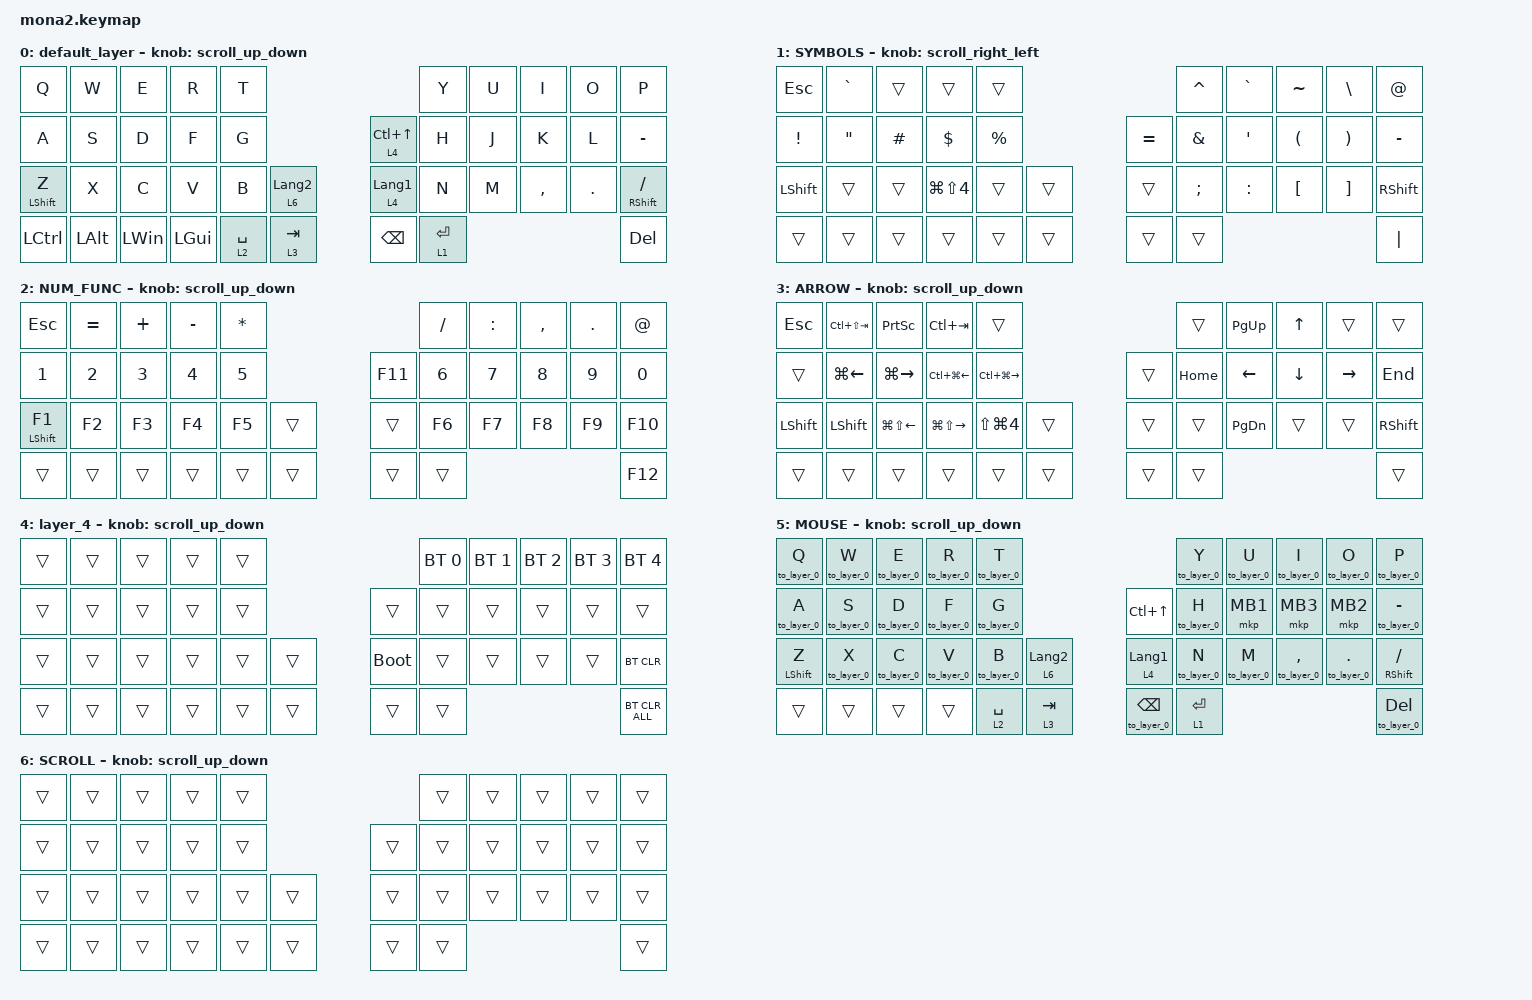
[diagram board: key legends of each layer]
#include <input/processors.dtsi>
#include <dt-bindings/zmk/input_transform.h>
#include <zephyr/dt-bindings/input/input-event-codes.h>
#include <behaviors.dtsi>
#include <dt-bindings/zmk/bt.h>
#include <dt-bindings/zmk/keys.h>
#include <dt-bindings/zmk/pointing.h>

#define ZMK_POINTING_DEFAULT_SCRL_VAL 100
#define MOUSE 5
#define SCROLL 6

&mt {
    flavor = "balanced";
    quick-tap-ms = <0>;
};

&lt {
    quick-tap-ms = <300>;
    flavor = "balanced";
};

/ {
    combos {
        compatible = "zmk,combos";

        layer4_ESC {
            bindings = <&lt 4 ESC>;
            key-positions = <39 38>;
        };
    };

    macros {
        to_layer_0: to_layer_0 {
            compatible = "zmk,behavior-macro-one-param";
            #binding-cells = <1>;
            bindings = <&to 0 &macro_param_1to1 &kp MACRO_PLACEHOLDER>;
            label = "TO_LAYER_0";
        };
    };

    behaviors {
        lt_to_layer_0: lt_to_layer_0 {
            compatible = "zmk,behavior-hold-tap";
            label = "LAYER_TAP_TO_0";
            bindings = <&mo>, <&to_layer_0>;

            #binding-cells = <2>;
            tapping-term-ms = <200>;
        };

        scroll_up_down: mouse_wheel_up_down {
            compatible = "zmk,behavior-sensor-rotate";
            #sensor-binding-cells = <0>;
            bindings = <&msc SCRL_DOWN>, <&msc SCRL_UP>;

            tap-ms = <20>;
        };

        scroll_right_left: mouse_wheel_right_left {
            compatible = "zmk,behavior-sensor-rotate";
            #sensor-binding-cells = <0>;
            bindings = <&msc SCRL_LEFT>, <&msc SCRL_RIGHT>;

            tap-ms = <20>;
        };
    };

    keymap {
        compatible = "zmk,keymap";

        default_layer {
            bindings = <
&kp Q             &kp W         &kp E         &kp R         &kp T                                                &kp Y        &kp U  &kp I      &kp O    &kp P
&kp A             &kp S         &kp D         &kp F         &kp G                            &lt 4 LC(UP_ARROW)  &kp H        &kp J  &kp K      &kp L    &kp MINUS
&mt LEFT_SHIFT Z  &kp X         &kp C         &kp V         &kp B        &lt 6 LANGUAGE_2    &lt 4 LANGUAGE_1    &kp N        &kp M  &kp COMMA  &kp DOT  &mt RIGHT_SHIFT SLASH
&kp LCTRL         &kp LEFT_ALT  &kp LEFT_WIN  &kp LEFT_GUI  &lt 2 SPACE  &lt 3 TAB           &kp BACKSPACE       &lt 1 ENTER                             &kp DEL
            >;

            sensor-bindings = <&scroll_up_down>;
        };

        SYMBOLS {
            bindings = <
&kp ESCAPE       &kp GRAVE          &trans    &trans                &trans                            &kp CARET      &kp GRAVE  &kp TILDE             &kp BACKSLASH          &kp AT_SIGN
&kp EXCLAMATION  &kp DOUBLE_QUOTES  &kp HASH  &kp DOLLAR            &kp PERCENT            &kp EQUAL  &kp AMPERSAND  &kp SQT    &kp LEFT_PARENTHESIS  &kp RIGHT_PARENTHESIS  &kp MINUS
&kp LEFT_SHIFT   &trans             &trans    &kp LG(LS(NUMBER_4))  &trans       &trans    &trans     &kp SEMICOLON  &kp COLON  &kp LEFT_BRACKET      &kp RIGHT_BRACKET      &kp RIGHT_SHIFT
&trans           &trans             &trans    &trans                &trans       &trans    &trans     &trans                                                                 &kp PIPE
            >;

            sensor-bindings = <&scroll_right_left>;
        };

        NUM_FUNC {
            bindings = <
&kp ESC            &kp EQUAL     &kp PLUS      &kp MINUS     &kp ASTERISK                     &kp SLASH     &kp COLON  &kp COMMA  &kp PERIOD  &kp AT_SIGN
&kp NUMBER_1       &kp NUMBER_2  &kp NUMBER_3  &kp NUMBER_4  &kp NUMBER_5            &kp F11  &kp NUMBER_6  &kp N7     &kp N8     &kp N9      &kp N0
&mt LEFT_SHIFT F1  &kp F2        &kp F3        &kp F4        &kp F5        &trans    &trans   &kp F6        &kp F7     &kp F8     &kp F9      &kp F10
&trans             &trans        &trans        &trans        &trans        &trans    &trans   &trans                                          &kp F12
            >;

            sensor-bindings = <&scroll_up_down>;
        };

        ARROW {
            bindings = <
&kp ESCAPE      &kp LC(LS(TAB))     &kp PRINTSCREEN         &kp LC(TAB)              &trans                                     &trans    &kp PG_UP       &kp UP_ARROW    &trans           &trans
&trans          &kp LG(LEFT_ARROW)  &kp LG(RIGHT_ARROW)     &kp LC(LG(LEFT_ARROW))   &kp LC(LG(RIGHT_ARROW))            &trans  &kp HOME  &kp LEFT_ARROW  &kp DOWN_ARROW  &kp RIGHT_ARROW  &kp END
&kp LEFT_SHIFT  &kp LEFT_SHIFT      &kp LG(LS(LEFT_ARROW))  &kp LG(LS(RIGHT_ARROW))  &kp LS(LG(NUMBER_4))     &trans    &trans  &trans    &kp PG_DN       &trans          &trans           &kp RIGHT_SHIFT
&trans          &trans              &trans                  &trans                   &trans                   &trans    &trans  &trans                                                     &trans
            >;

            sensor-bindings = <&scroll_up_down>;
        };

        layer_4 {
            bindings = <
&trans  &trans  &trans  &trans  &trans                         &bt BT_SEL 0  &bt BT_SEL 1  &bt BT_SEL 2  &bt BT_SEL 3  &bt BT_SEL 4
&trans  &trans  &trans  &trans  &trans            &trans       &trans        &trans        &trans        &trans        &trans
&trans  &trans  &trans  &trans  &trans  &trans    &bootloader  &trans        &trans        &trans        &trans        &bt BT_CLR
&trans  &trans  &trans  &trans  &trans  &trans    &trans       &trans                                                  &bt BT_CLR_ALL
            >;

            sensor-bindings = <&scroll_up_down>;
        };

        MOUSE {
            bindings = <
&to_layer_0 Q     &to_layer_0 W  &to_layer_0 E  &to_layer_0 R  &to_layer_0 T                                                                       &to_layer_0 Y           &to_layer_0 U  &to_layer_0 I      &to_layer_0 O       &to_layer_0 P
&to_layer_0 A     &to_layer_0 S  &to_layer_0 D  &to_layer_0 F  &to_layer_0 G                                          &kp LC(UP_ARROW)             &to_layer_0 H           &mkp MB1       &mkp MB3           &mkp MB2            &to_layer_0 MINUS
&mt LEFT_SHIFT Z  &to_layer_0 X  &to_layer_0 C  &to_layer_0 V  &to_layer_0 B           &lt_to_layer_0 6 LANGUAGE_2    &lt_to_layer_0 4 LANGUAGE_1  &to_layer_0 N           &to_layer_0 M  &to_layer_0 COMMA  &to_layer_0 PERIOD  &mt RIGHT_SHIFT SLASH
&trans            &trans         &trans         &trans         &lt_to_layer_0 2 SPACE  &lt_to_layer_0 3 TAB           &to_layer_0 BACKSPACE        &lt_to_layer_0 1 ENTER                                                        &to_layer_0 DELETE
            >;

            sensor-bindings = <&scroll_up_down>;
        };

        SCROLL {
            bindings = <
&trans  &trans  &trans  &trans  &trans                    &trans  &trans  &trans  &trans  &trans
&trans  &trans  &trans  &trans  &trans            &trans  &trans  &trans  &trans  &trans  &trans
&trans  &trans  &trans  &trans  &trans  &trans    &trans  &trans  &trans  &trans  &trans  &trans
&trans  &trans  &trans  &trans  &trans  &trans    &trans  &trans                          &trans
            >;

            sensor-bindings = <&scroll_up_down>;
        };
    };
};
